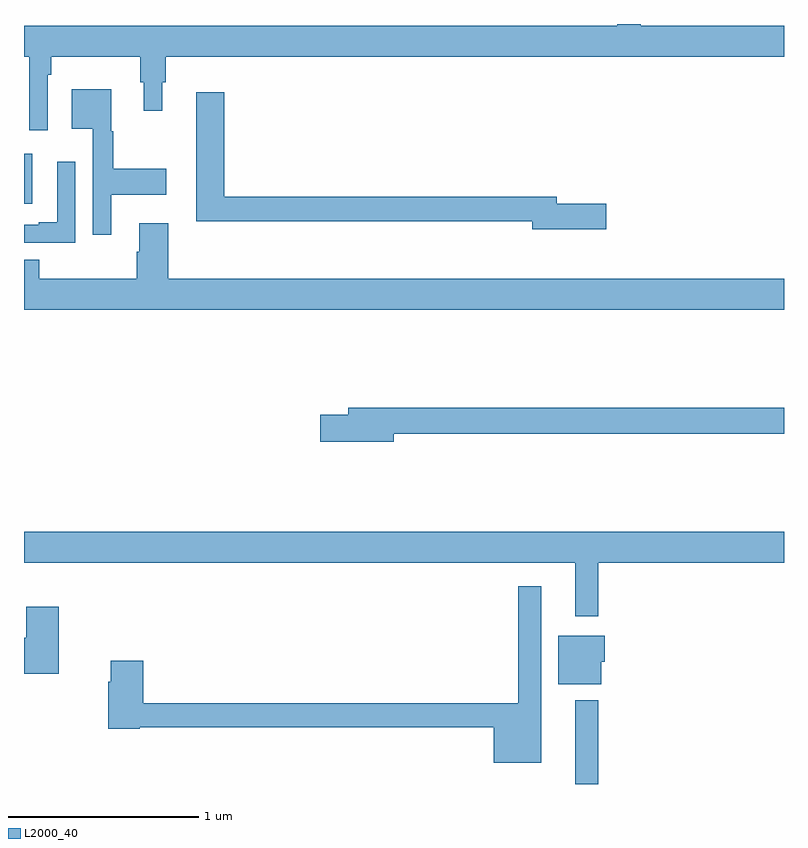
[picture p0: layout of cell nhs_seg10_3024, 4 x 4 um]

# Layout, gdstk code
import gdstk
lib = gdstk.Library(unit=1e-6, precision=1e-09)
def R(c, l, rs):  # rectangles x0, y0, x1, y1
    for r in rs: c.add(gdstk.rectangle(r[:2], r[2:], *l))
def P(c, l, *ps):  # polygons
    for p in ps: c.add(gdstk.Polygon(p, *l))
L2000_40 = (2000, 40)

nhs_seg10_3024 = lib.new_cell('nhs_seg10_3024')
R(nhs_seg10_3024, L2000_40, [(277.901,1284.5,278.023,1284.94), (275,1287.554,275.044,1287.817)])
P(nhs_seg10_3024, L2000_40, [(275.124,1288.232),(275.144,1288.232),(275.144,1288.328),(275.611,1288.328),(275.611,1288.194),(275.63,1288.194),(275.63,1288.044),(275.728,1288.044),(275.728,1288.194),(275.747,1288.194),(275.747,1288.328),(279,1288.328),(279,1288.492),(278.245,1288.492),(278.245,1288.5),(278.123,1288.5),(278.123,1288.492),(275,1288.492),(275,1288.328),(275.027,1288.328),(275.027,1287.942),(275.124,1287.942)],
  [(275.458,1287.602),(275.749,1287.602),(275.749,1287.737),(275.47,1287.737),(275.47,1287.936),(275.458,1287.936),(275.458,1288.156),(275.252,1288.156),(275.252,1287.95),(275.361,1287.95),(275.361,1287.39),(275.458,1287.39)],
  [(278.065,1287.554),(277.804,1287.554),(277.804,1287.59),(276.053,1287.59),(276.053,1288.141),(275.906,1288.141),(275.906,1287.462),(277.676,1287.462),(277.676,1287.419),(278.065,1287.419)],
  [(275.271,1287.775),(275.174,1287.775),(275.174,1287.457),(275.078,1287.457),(275.078,1287.444),(275,1287.444),(275,1287.348),(275.271,1287.348)],
  [(279,1287.16),(275.759,1287.16),(275.759,1287.451),(275.606,1287.451),(275.606,1287.302),(275.594,1287.302),(275.594,1287.16),(275.081,1287.16),(275.081,1287.258),(275,1287.258),(275,1286.996),(279,1286.996)],
  [(276.946,1286.344),(279,1286.344),(279,1286.48),(276.707,1286.48),(276.707,1286.444),(276.558,1286.444),(276.558,1286.302),(276.946,1286.302)],
  [(278.023,1285.664),(279,1285.664),(279,1285.828),(275,1285.828),(275,1285.664),(277.901,1285.664),(277.901,1285.383),(278.023,1285.383)],
  [(277.723,1285.54),(277.602,1285.54),(277.602,1284.926),(275.627,1284.926),(275.627,1285.15),(275.456,1285.15),(275.456,1285.037),(275.444,1285.037),(275.444,1284.79),(275.61,1284.79),(275.61,1284.798),(277.472,1284.798),(277.472,1284.611),(277.723,1284.611)],
  [(275.183,1285.432),(275.012,1285.432),(275.012,1285.27),(275,1285.27),(275,1285.079),(275.183,1285.079)],
  [(278.038,1285.143),(278.056,1285.143),(278.056,1285.279),(277.811,1285.279),(277.811,1285.025),(278.038,1285.025)])

lib.write_gds('nhs_seg10_3024.gds')
